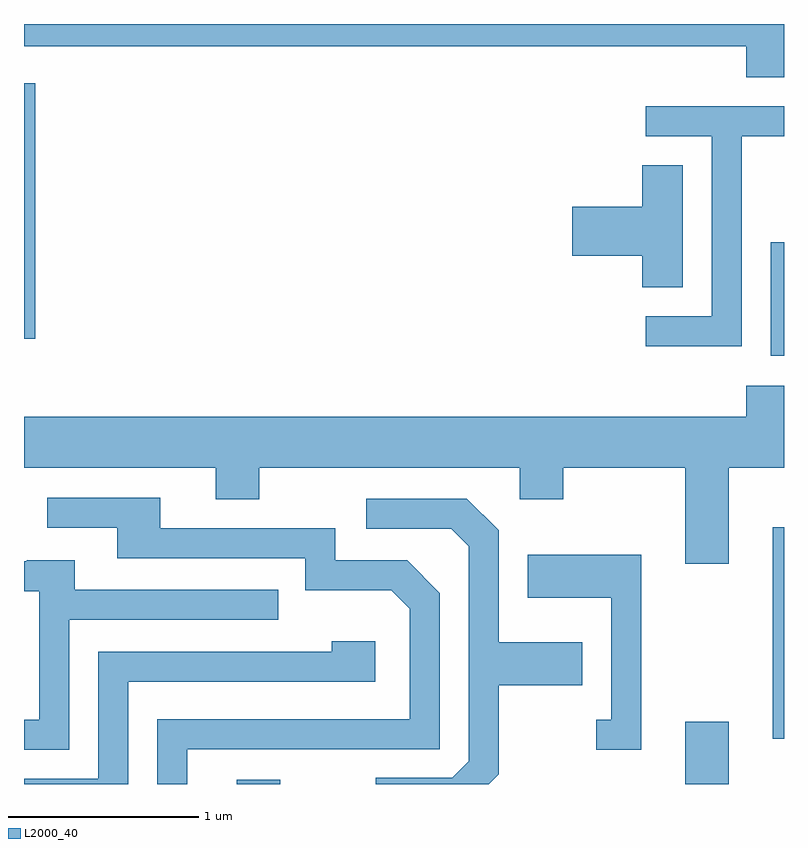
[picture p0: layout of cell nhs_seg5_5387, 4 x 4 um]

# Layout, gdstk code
import gdstk
lib = gdstk.Library(unit=1e-6, precision=1e-09)
def R(c, l, rs):  # rectangles x0, y0, x1, y1
    for r in rs: c.add(gdstk.rectangle(r[:2], r[2:], *l))
def P(c, l, *ps):  # polygons
    for p in ps: c.add(gdstk.Polygon(p, *l))
L2000_40 = (2000, 40)

nhs_seg5_5387 = lib.new_cell('nhs_seg5_5387')
R(nhs_seg5_5387, L2000_40, [(346.731,1404.072,346.959,1404.094), (349.091,1404.072,349.319,1404.399), (349.551,1404.311,349.611,1405.424), (349.541,1406.326,349.611,1406.924), (345.611,1406.416,345.669,1407.759)])
P(nhs_seg5_5387, L2000_40, [(349.611,1408.072),(345.611,1408.072),(345.611,1407.956),(349.411,1407.956),(349.411,1407.791),(349.611,1407.791)],
  [(349.389,1407.481),(349.611,1407.481),(349.611,1407.639),(348.883,1407.639),(348.883,1407.481),(349.231,1407.481),(349.231,1406.534),(348.883,1406.534),(348.883,1406.376),(349.389,1406.376)],
  [(349.079,1407.329),(348.866,1407.329),(348.866,1407.109),(348.496,1407.109),(348.496,1406.851),(348.866,1406.851),(348.866,1406.686),(349.079,1406.686)],
  [(349.319,1405.736),(349.611,1405.736),(349.611,1406.169),(349.411,1406.169),(349.411,1406.004),(345.611,1406.004),(345.611,1405.736),(346.621,1405.736),(346.621,1405.571),(346.849,1405.571),(346.849,1405.736),(348.221,1405.736),(348.221,1405.571),(348.449,1405.571),(348.449,1405.736),(349.091,1405.736),(349.091,1405.231),(349.319,1405.231)],
  [(346.469,1404.256),(347.799,1404.256),(347.799,1405.077),(347.627,1405.249),(347.249,1405.249),(347.249,1405.419),(346.329,1405.419),(346.329,1405.579),(345.733,1405.579),(345.733,1405.421),(346.101,1405.421),(346.101,1405.261),(347.091,1405.261),(347.091,1405.091),(347.544,1405.091),(347.641,1404.994),(347.641,1404.414),(346.311,1404.414),(346.311,1404.072),(346.469,1404.072)],
  [(348.109,1404.124),(348.109,1404.591),(348.549,1404.591),(348.549,1404.819),(348.109,1404.819),(348.109,1405.407),(347.942,1405.574),(347.413,1405.574),(347.413,1405.416),(347.859,1405.416),(347.951,1405.324),(347.951,1404.192),(347.864,1404.104),(347.463,1404.104),(347.463,1404.072),(348.057,1404.072)],
  [(348.859,1405.279),(348.261,1405.279),(348.261,1405.051),(348.701,1405.051),(348.701,1404.409),(348.623,1404.409),(348.623,1404.251),(348.859,1404.251)],
  [(345.849,1404.936),(346.948,1404.936),(346.948,1405.094),(345.879,1405.094),(345.879,1405.249),(345.625,1405.249),(345.625,1405.244),(345.611,1405.244),(345.611,1405.086),(345.691,1405.086),(345.691,1404.409),(345.611,1404.409),(345.611,1404.251),(345.849,1404.251)],
  [(346.159,1404.611),(347.459,1404.611),(347.459,1404.824),(347.231,1404.824),(347.231,1404.769),(346.001,1404.769),(346.001,1404.099),(345.611,1404.099),(345.611,1404.072),(346.159,1404.072)])

lib.write_gds('nhs_seg5_5387.gds')
